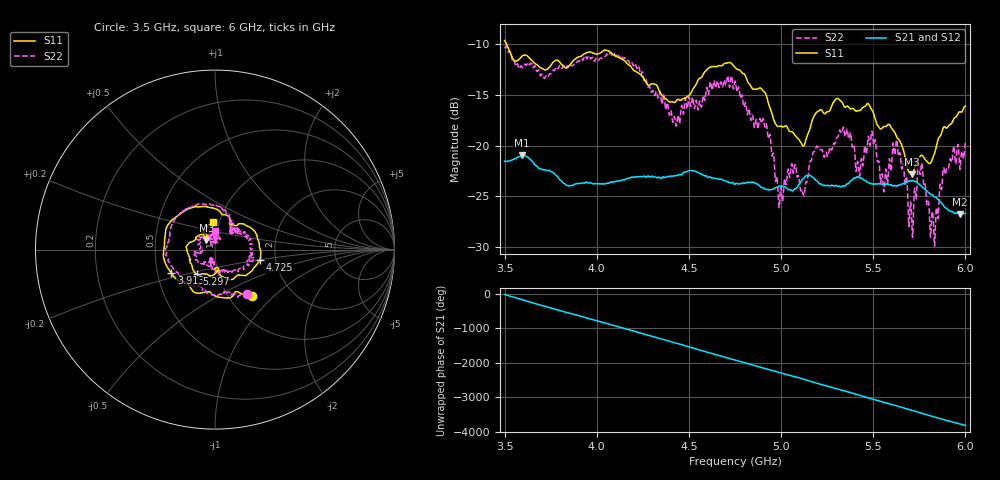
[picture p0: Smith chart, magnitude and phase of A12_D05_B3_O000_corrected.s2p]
! Created with skrf 1.9.0 (http://scikit-rf.org).
# Hz S RI R 50.0
!freq ReS11 ImS11 ReS21 ImS21 ReS12 ImS12 ReS22 ImS22
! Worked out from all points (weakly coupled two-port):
!   1601 points, 3.5 GHz to 6 GHz, reference 50 ohm
!   highest |S21| = -20.96 dB at 3.594 GHz (marker M1); lowest = -26.7 dB at 5.97 GHz (marker M2)
!   lowest |S11| = -22.8 dB at 5.709 GHz (marker M3), VSWR 1.16, Z = 45.2 + j4.93 ohm
!   |S11| at or under -10 dB: 3.512 GHz to end of sweep
!   |S22| runs from -29.9 to -10.2 dB; largest |S21 - S12| = 0.00095
!   S11 on the Smith chart (normalised r, x): 3.5 GHz: 1.27, -0.74; 3.913 GHz: 0.59, -0.17; 4.725 GHz: 1.66, -0.20; 5.297 GHz: 0.79, -0.22; 6 GHz: 0.94, +0.30
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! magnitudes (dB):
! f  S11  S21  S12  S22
! 3.5 GHz  -9.6  -21.5  -21.5  -10.3
! 3.594 GHz  -11.2  -21.0  -21.0  -12.2
! 3.913 GHz  -11.2  -23.7  -23.7  -11.5
! 3.917 GHz  -11.1  -23.7  -23.7  -11.4
! 4.334 GHz  -14.4  -23.1  -23.1  -15.3
! 4.439 GHz  -15.4  -22.9  -22.9  -17.1
! 4.725 GHz  -11.8  -23.7  -23.6  -13.7
! 4.75 GHz  -12.3  -23.8  -23.7  -13.6
! 4.912 GHz  -14.7  -24.3  -24.2  -18.2
! 4.997 GHz  -18.1  -24.0  -23.9  -24.2
! 5.167 GHz  -17.6  -23.1  -23.0  -21.2
! 5.297 GHz  -15.4  -23.9  -23.9  -19.5
! 5.417 GHz  -16.5  -23.1  -23.1  -21.7
! 5.5 GHz  -16.7  -23.8  -23.7  -19.6
! 5.584 GHz  -17.9  -23.9  -23.8  -21.9
! 5.634 GHz  -19.3  -23.9  -23.9  -20.7
! 5.709 GHz  -22.8  -23.5  -23.4  -27.7
! 5.755 GHz  -21.1  -23.9  -23.8  -22.8
! 5.823 GHz  -21.2  -24.9  -24.9  -26.7
! 5.888 GHz  -18.1  -26.1  -26.1  -22.6
! 5.97 GHz  -16.6  -26.7  -26.7  -22.3
! 6 GHz  -16.1  -26.7  -26.7  -19.7
